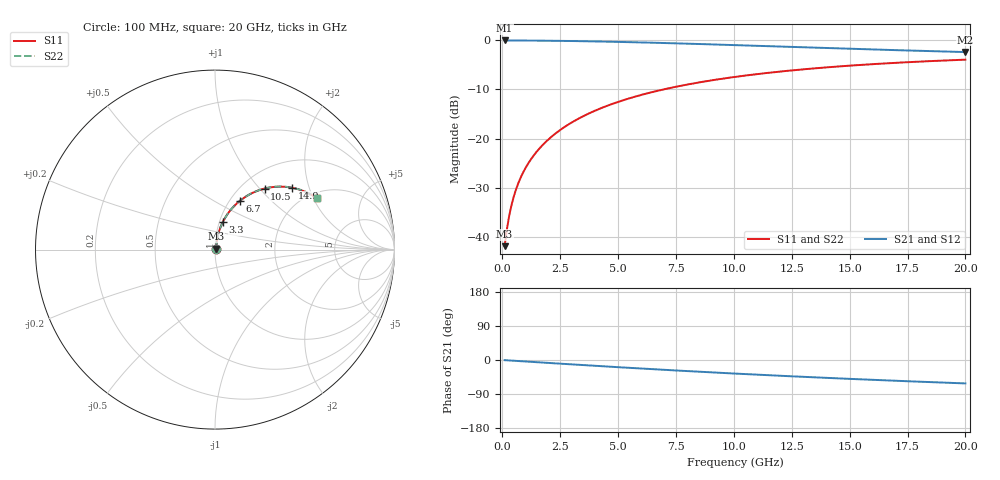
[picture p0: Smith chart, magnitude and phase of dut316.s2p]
! Touchstone file exported from HFSS 2026.1.0
!  File:  C:/ffzhzh/LocalFiles/Ansys_Project_Files/temp_train_TMRDL_316_1783003390_46388.aedt
!  Generated:  10:44:51 PM Jul  2, 2026
!  Design:  TMRDL
!  Project:  temp_train_TMRDL_316_1783003390_46388
! Variables:
!  h_bsmrdl = 2um
!  h_ox = 20um
!  h_rdl = 5um
!  h_sub = 80um
!  h_tmrdl = 3.98um
!  h_tsv = 80um
!  h_via = 3um
!  l_bsmrdl = 300um
!  l_sub = 1302.43um
!  l_tmrdl = 902.43um
!  m_sub = 200um
!  pitch = 54.55um
!  r_tsv = 6um
!  s_tmrdl = 10um
!  w_bsmrdl = 18um
!  w_sub = 500um
!  w_tmrdl = 12.65um
!  x_tsv_center1 = 908.755um
!  x_tsv_center2 = 1226.755um
!  x_tsv_center3 = 2141.835um
!  x_tsv_center4 = 2459.835um
!  x_tsv_center5 = 3374.915um
!  x_tsv_center6 = 3692.915um
# GHz S MA R 50.000000
! Terminal data exported
! Port[1] = TM_RDL1_1_T1
! Port[2] = TM_RDL1_1_T2
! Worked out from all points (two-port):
!   200 points, 100 MHz to 20 GHz, reference 50 ohm
!   highest |S21| = -0.06 dB at 100 MHz (marker M1); lowest = -2.4 dB at 20 GHz (marker M2)
!   |S21| within 3 dB of the highest: start of sweep to end of sweep
!   lowest |S11| = -41.8 dB at 100 MHz (marker M3), VSWR 1.02, Z = 50.6 + j0.517 ohm
!   |S11| at or under -10 dB: start of sweep to 6.95 GHz
!   |S22| runs from -41.8 to -3.9 dB; largest |S21 - S12| = 4.1e-15
!   S11 on the Smith chart (normalised r, x): 100 MHz: 1.01, +0.01; 3.3 GHz: 1.04, +0.33; 6.7 GHz: 1.11, +0.67; 10.5 GHz: 1.26, +1.06; 14.9 GHz: 1.56, +1.55; 20 GHz: 2.21, +2.12
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0.1  0.008154 38.8  0.9937 -0.4  0.9937 -0.4  0.008154 38.8
! Gamma 0 0 0 0
! Port Impedance 50 0 50 0
0.2  0.0121 57.2  0.9935 -0.8  0.9935 -0.8  0.0121 57.2
0.3  0.01666 65.7  0.9933 -1.2  0.9933 -1.2  0.01666 65.7
0.4  0.02139 70.2  0.9931 -1.6  0.9931 -1.6  0.02139 70.2
0.5  0.02619 73.0  0.9929 -2.0  0.9929 -2.0  0.02619 73.0
0.7  0.03586 76.0  0.9924 -2.8  0.9924 -2.8  0.03586 76.0
1  0.05043 77.9  0.9915 -3.9  0.9915 -3.9  0.05043 77.9
1.4  0.06989 78.4  0.9901 -5.5  0.9901 -5.5  0.06989 78.4
1.9  0.09412 77.9  0.9878 -7.4  0.9878 -7.4  0.09411 77.9
2.5  0.1229 76.5  0.9843 -9.7  0.9843 -9.7  0.1229 76.5
3.3  0.1605 74.1  0.9782 -12.7  0.9782 -12.7  0.1605 74.2
3.5  0.1697 73.5  0.9765 -13.4  0.9765 -13.4  0.1697 73.5
4.9  0.2323 68.9  0.9624 -18.6  0.9624 -18.6  0.2323 68.9
6.7  0.3065 62.8  0.94 -24.9  0.94 -24.9  0.3065 62.9
6.8  0.3104 62.5  0.9387 -25.3  0.9387 -25.3  0.3104 62.5
8.3  0.3661 57.7  0.9175 -30.3  0.9175 -30.3  0.3661 57.7
10.1  0.4258 52.1  0.8908 -36.0  0.8908 -36.0  0.4258 52.2
10.5  0.438 50.9  0.8847 -37.2  0.8847 -37.2  0.438 51.0
13.4  0.5161 42.8  0.8415 -45.5  0.8415 -45.5  0.516 42.8
14.9  0.5496 38.9  0.8202 -49.5  0.8202 -49.5  0.5496 38.9
16.7  0.5844 34.4  0.7962 -54.1  0.7962 -54.1  0.5844 34.5
20  0.6347 26.9  0.7578 -61.8  0.7578 -61.8  0.6346 27.0
